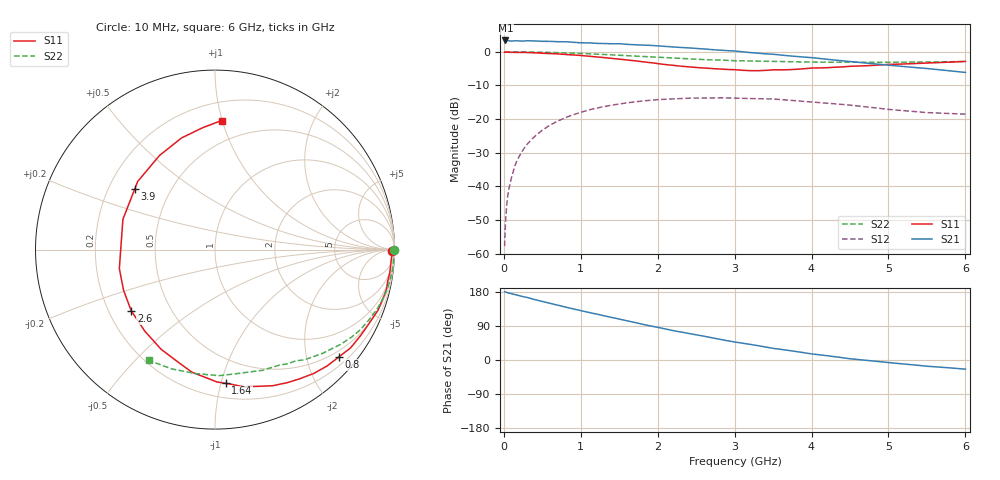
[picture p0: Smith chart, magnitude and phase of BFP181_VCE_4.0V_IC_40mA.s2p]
! Infineon Technologies  Discrete & RF Semiconductors
! BFP181
! VCE = 4.0 V,  IC =  40 mA
! Common Emitter S-Parameters:  Jan 2016
# GHz  S  MA  R  50
!  f  S11  S21  S12  S22
! GHz  MAG  ANG  MAG  ANG  MAG  ANG  MAG  ANG
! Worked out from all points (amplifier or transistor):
!   210 points, 10 MHz to 6 GHz, reference 50 ohm
!   highest |S21| = 3.4 dB at 20 MHz (marker M1)
!   |S21| within 3 dB of that: start of sweep to 2.89 GHz
!   unconditionally stable (mu >= 1): 3.78 GHz to end of sweep
!   at 185 MHz: K = 0.06, MSG = 17.5 dB, |S12| = -31.7 dB
!   at 1.52 GHz: K = 0.45, MSG = 8.9 dB, |S12| = -15.4 dB
!   at 6 GHz: K = 1.50, MAG = 2.0 dB, |S12| = -18.5 dB
!   S11 on the Smith chart (normalised r, x): 10 MHz: open; 800 MHz: 0.37, -2.64; 1.64 GHz: 0.31, -1.04; 2.6 GHz: 0.29, -0.30; 3.9 GHz: 0.31, +0.31; 6 GHz: 0.33, +0.99
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0.01  0.9865 -0.6  1.452 179.9  0.0013 91.6  0.9992 -0.2
0.02  0.9915 -1.1  1.474 179.7  0.0027 94.4  0.9972 -0.5
0.03  0.9894 -1.5  1.472 179.0  0.0042 91.8  0.9972 -0.8
0.04  0.9873 -1.8  1.47 178.2  0.0057 90.5  0.9973 -1.0
0.06  0.9844 -2.8  1.463 177.0  0.0085 88.2  0.9974 -1.5
0.08  0.9832 -4.0  1.452 176.0  0.011 86.0  0.9975 -2.0
0.14  0.982 -7.3  1.456 173.0  0.0197 83.8  0.9966 -3.5
0.22  0.9791 -11.2  1.446 168.7  0.0308 81.7  0.9957 -5.6
0.45  0.9596 -23.0  1.44 156.9  0.0618 72.9  0.9871 -11.3
0.8  0.9132 -40.9  1.414 139.7  0.1051 60.3  0.9636 -19.7
1.02  0.8776 -52.5  1.36 129.4  0.1283 52.6  0.9417 -24.8
1.5  0.7808 -78.2  1.319 107.7  0.168 36.9  0.8877 -35.0
1.64  0.7478 -85.4  1.283 101.8  0.1769 32.8  0.8724 -37.6
2.02  0.6631 -107.4  1.221 85.3  0.1956 22.4  0.8302 -44.3
2.6  0.578 -143.8  1.104 62.8  0.2055 8.0  0.7649 -54.1
3.1  0.5314 -174.5  1.001 44.5  0.2036 -3.2  0.7336 -62.2
3.5  0.5401 161.8  0.919 30.8  0.1994 -10.8  0.7225 -68.5
3.9  0.5602 143.0  0.835 19.3  0.1842 -16.7  0.7061 -76.0
4.1  0.5763 134.8  0.797 13.8  0.1767 -19.4  0.7019 -80.0
4.5  0.6088 120.5  0.718 3.3  0.1615 -24.1  0.7028 -88.2
5.1  0.6539 104.5  0.618 -8.7  0.1366 -24.9  0.6985 -101.1
6  0.72 87.1  0.494 -24.2  0.1187 -17.4  0.7194 -120.9
